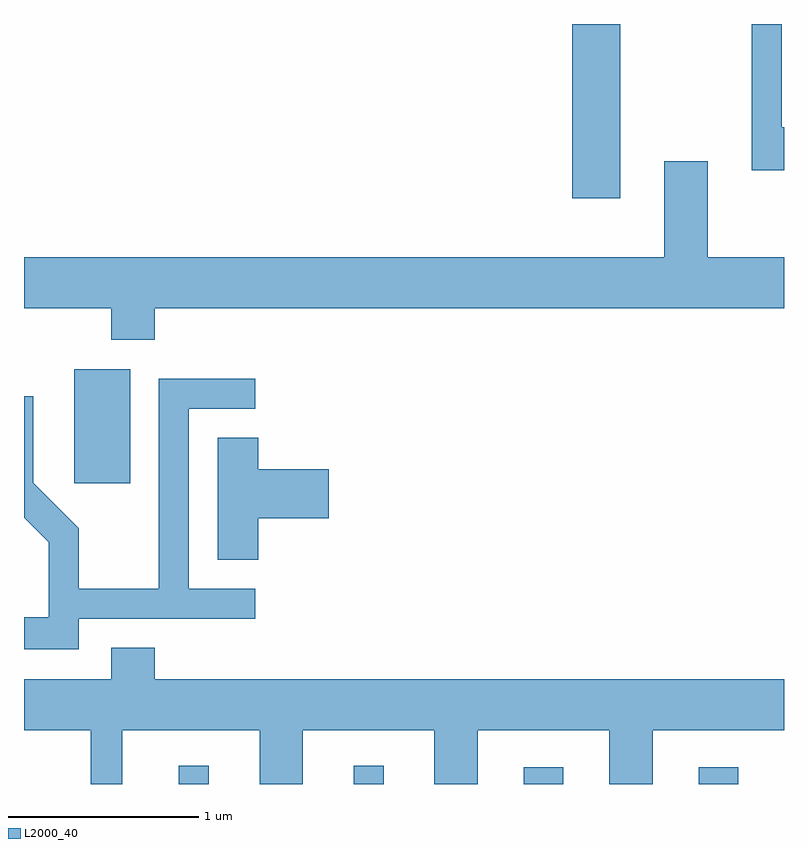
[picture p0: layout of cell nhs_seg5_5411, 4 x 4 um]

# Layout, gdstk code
import gdstk
lib = gdstk.Library(unit=1e-6, precision=1e-09)
def R(c, l, rs):  # rectangles x0, y0, x1, y1
    for r in rs: c.add(gdstk.rectangle(r[:2], r[2:], *l))
def P(c, l, *ps):  # polygons
    for p in ps: c.add(gdstk.Polygon(p, *l))
L2000_40 = (2000, 40)

nhs_seg5_5411 = lib.new_cell('nhs_seg5_5411')
R(nhs_seg5_5411, L2000_40, [(346.426,1452.072,346.584,1452.168), (347.346,1452.072,347.504,1452.168), (348.241,1452.072,348.449,1452.159), (349.161,1452.072,349.369,1452.159), (345.876,1453.656,346.169,1454.254), (348.496,1455.156,348.749,1456.072)])
P(nhs_seg5_5411, L2000_40, [(349.611,1455.529),(349.599,1455.529),(349.599,1456.072),(349.441,1456.072),(349.441,1455.301),(349.611,1455.301)],
  [(346.299,1454.576),(349.611,1454.576),(349.611,1454.844),(349.209,1454.844),(349.209,1455.349),(348.981,1455.349),(348.981,1454.844),(345.611,1454.844),(345.611,1454.576),(346.071,1454.576),(346.071,1454.411),(346.299,1454.411)],
  [(345.899,1452.941),(346.828,1452.941),(346.828,1453.099),(346.479,1453.099),(346.479,1454.046),(346.828,1454.046),(346.828,1454.204),(346.321,1454.204),(346.321,1453.099),(345.899,1453.099),(345.899,1453.417),(345.659,1453.657),(345.659,1454.113),(345.611,1454.113),(345.611,1453.474),(345.741,1453.344),(345.741,1452.949),(345.611,1452.949),(345.611,1452.781),(345.899,1452.781)],
  [(346.844,1453.471),(347.214,1453.471),(347.214,1453.729),(346.844,1453.729),(346.844,1453.894),(346.631,1453.894),(346.631,1453.251),(346.844,1453.251)],
  [(346.129,1452.356),(346.851,1452.356),(346.851,1452.072),(347.079,1452.072),(347.079,1452.356),(347.771,1452.356),(347.771,1452.072),(347.999,1452.072),(347.999,1452.356),(348.691,1452.356),(348.691,1452.072),(348.919,1452.072),(348.919,1452.356),(349.611,1452.356),(349.611,1452.624),(346.299,1452.624),(346.299,1452.789),(346.071,1452.789),(346.071,1452.624),(345.611,1452.624),(345.611,1452.356),(345.961,1452.356),(345.961,1452.072),(346.129,1452.072)])

lib.write_gds('nhs_seg5_5411.gds')
